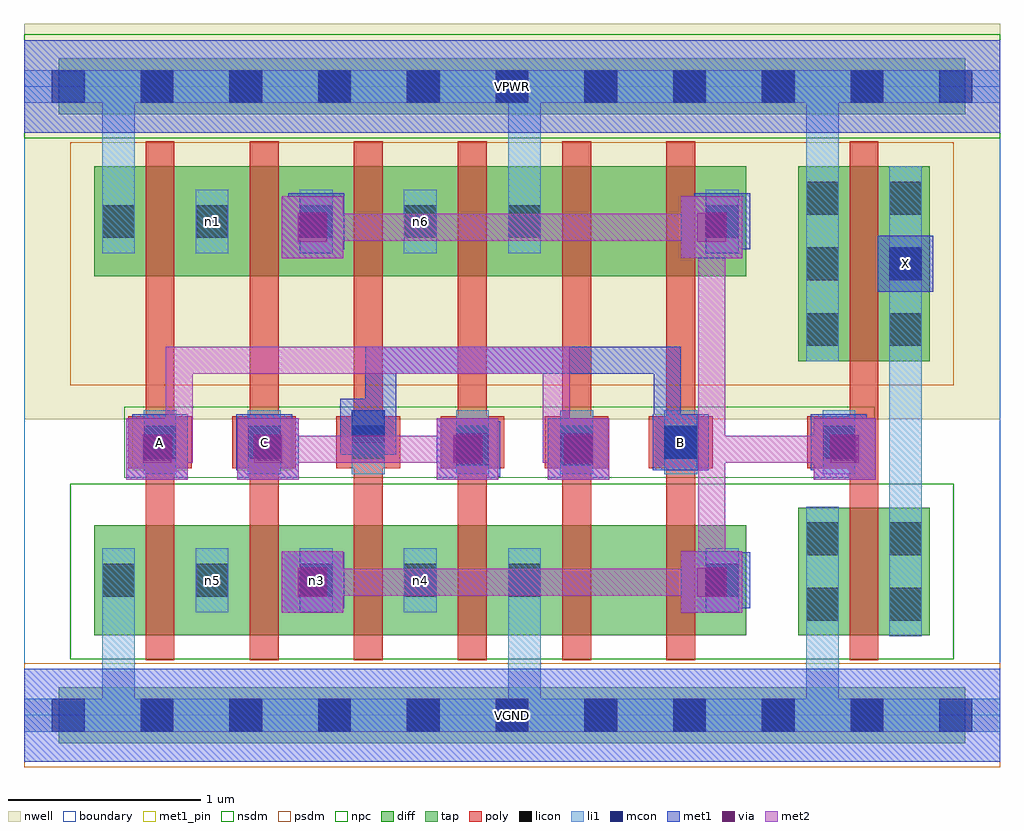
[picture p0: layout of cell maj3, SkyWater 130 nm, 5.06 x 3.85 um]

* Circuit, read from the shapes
.subckt maj3 A B C VGND VPWR X n1 n3 n4 n5 n6
XM1 n5 A VGND VGND sky130_fd_pr__nfet_01v8 w=0.57 l=0.15
XM2 n3 C n5 VGND sky130_fd_pr__nfet_01v8 w=0.57 l=0.15
XM3 n4 B n3 VGND sky130_fd_pr__nfet_01v8 w=0.57 l=0.15
XM4 VGND C n4 VGND sky130_fd_pr__nfet_01v8 w=0.57 l=0.15
XM5 n2 A VGND VGND sky130_fd_pr__nfet_01v8 w=0.57 l=0.15
XM6 n3 B n2 VGND sky130_fd_pr__nfet_01v8 w=0.57 l=0.15
XM7 X n3 VGND VGND sky130_fd_pr__nfet_01v8 w=0.66 l=0.15
XM8 n1 A VPWR VPWR sky130_fd_pr__pfet_01v8 w=0.57 l=0.15
XM9 n3 C n1 VPWR sky130_fd_pr__pfet_01v8 w=0.57 l=0.15
XM10 n6 B n3 VPWR sky130_fd_pr__pfet_01v8 w=0.57 l=0.15
XM11 VPWR C n6 VPWR sky130_fd_pr__pfet_01v8 w=0.57 l=0.15
XM12 n7 A VPWR VPWR sky130_fd_pr__pfet_01v8 w=0.57 l=0.15
XM13 n3 B n7 VPWR sky130_fd_pr__pfet_01v8 w=0.57 l=0.15
XM14 X n3 VPWR VPWR sky130_fd_pr__pfet_01v8 w=1.01 l=0.15
.ends

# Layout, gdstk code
import gdstk
lib = gdstk.Library(unit=1e-6, precision=1e-09)
def R(c, l, rs):  # rectangles x0, y0, x1, y1
    for r in rs: c.add(gdstk.rectangle(r[:2], r[2:], *l))
def A(c, l, x, y, w, h, nx, ny, dx, dy):  # array of equal rectangles
    R(c, l, [(x+i*dx, y+j*dy, x+i*dx+w, y+j*dy+h) for i in range(nx) for j in range(ny)])
nwell = (64, 20)
diff = (65, 20)
tap = (65, 44)
poly = (66, 20)
licon = (66, 44)
li1 = (67, 20)
mcon = (67, 44)
met1_pin = (68, 16)
met1 = (68, 20)
via = (68, 44)
met2 = (69, 20)
nsdm = (93, 44)
psdm = (94, 20)
npc = (95, 20)
boundary = (235, 4)

maj3 = lib.new_cell('maj3')
R(maj3, nwell, [(0,1.535,5.06,3.585)])
R(maj3, diff, [(0.365,0.415,3.745,0.985), (4.015,0.415,4.695,1.075), (4.015,1.835,4.695,2.845), (0.365,2.275,3.745,2.845)])
R(maj3, tap, [(0.18,-0.145,4.88,0.145), (0.18,3.115,4.88,3.405)])
A(maj3, poly, 0.63, 0.285, 0.15, 2.69, 6, 1, 0.54, 0)
A(maj3, poly, 0.54, 1.28, 0.33, 0.27, 6, 1, 0.54, 0)
R(maj3, poly, [(4.28,0.285,4.43,2.975), (4.06,1.28,4.39,1.55)])
A(maj3, licon, 0.605, -0.085, 0.17, 0.17, 9, 2, 0.46, 3.26)
A(maj3, licon, 0.89, 0.615, 0.17, 0.17, 4, 2, 0.54, 1.86)
A(maj3, licon, 0.62, 1.33, 0.17, 0.17, 6, 1, 0.54, 0)
A(maj3, licon, 4.055, 1.915, 0.17, 0.17, 1, 3, 0, 0.34)
A(maj3, licon, 4.485, 1.915, 0.17, 0.17, 1, 3, 0, 0.34)
R(maj3, licon, [(4.055,0.49,4.225,0.66), (4.485,0.49,4.655,0.66), (0.405,0.615,0.575,0.785), (3.535,0.615,3.705,0.785), (4.055,0.83,4.225,1), (4.485,0.83,4.655,1), (4.14,1.33,4.31,1.5), (0.405,2.475,0.575,2.645), (3.535,2.475,3.705,2.645)])
A(maj3, li1, 0.89, 0.535, 0.17, 0.33, 4, 2, 0.54, 1.86)
A(maj3, li1, 0.62, 1.25, 0.17, 0.33, 6, 1, 0.54, 0)
R(maj3, li1, [(0,-0.085,5.06,0.085), (0.405,-0.085,0.575,0.865), (2.51,-0.085,2.68,0.865), (4.055,-0.085,4.225,1.08), (4.055,0.41,4.225,1.08), (4.485,0.41,4.655,1.08), (4.485,0.41,4.655,2.845), (0.405,0.535,0.575,0.865), (3.535,0.535,3.705,0.865), (4.14,1.25,4.31,1.58), (4.055,1.835,4.225,2.845), (4.055,1.835,4.225,3.345), (4.485,1.835,4.655,2.845), (0.405,2.395,0.575,2.725), (0.405,2.395,0.575,3.345), (2.51,2.395,2.68,3.345), (3.535,2.395,3.705,2.725), (0,3.175,5.06,3.345)])
A(maj3, mcon, 0.145, -0.085, 0.17, 0.17, 11, 2, 0.46, 3.26)
R(maj3, mcon, [(1.43,0.615,1.6,0.785), (3.535,0.615,3.705,0.785), (2.24,1.295,2.41,1.465), (2.78,1.295,2.95,1.465), (0.62,1.33,0.79,1.5), (1.16,1.33,1.33,1.5), (3.32,1.33,3.49,1.5), (4.14,1.33,4.31,1.5), (1.7,1.41,1.87,1.58), (4.485,2.255,4.655,2.425), (1.43,2.475,1.6,2.645), (3.535,2.475,3.705,2.645)])
R(maj3, met1_pin, [(0,-0.24,5.06,0.24), (0.56,1.27,0.85,1.56), (1.1,1.27,1.39,1.56), (3.26,1.27,3.55,1.56), (4.425,2.195,4.715,2.485), (0,3.02,5.06,3.5)])
R(maj3, met1, [(0,-0.24,5.06,0.24), (1.335,0.53,1.655,0.85), (3.405,0.53,3.725,0.85), (1.37,0.555,1.66,0.845), (3.475,0.555,3.765,0.845), (1.425,0.62,1.565,0.76), (3.495,0.62,3.635,0.76), (0.53,1.22,0.85,1.54), (1.105,1.22,1.425,1.54), (2.14,1.22,2.46,1.54), (2.715,1.22,3.035,1.54), (4.095,1.22,4.415,1.54), (2.18,1.235,2.47,1.525), (2.72,1.235,3.01,1.525), (0.56,1.27,0.85,1.56), (1.1,1.27,1.39,1.56), (3.26,1.27,3.55,1.56), (4.08,1.27,4.37,1.56), (0.62,1.31,0.76,1.45), (1.195,1.31,1.335,1.45), (2.23,1.31,2.395,1.45), (2.795,1.31,2.945,1.45), (3.265,1.31,3.405,1.45), (3.265,1.31,3.405,1.91), (4.185,1.31,4.325,1.45), (1.64,1.35,1.93,1.64), (1.715,1.425,1.91,1.565), (1.77,1.425,1.91,1.68), (1.77,1.54,1.91,1.91), (1.77,1.64,1.93,1.77), (1.77,1.77,3.405,1.91), (4.425,2.195,4.715,2.485), (1.335,2.37,1.655,2.69), (3.405,2.37,3.725,2.69), (1.37,2.415,1.66,2.705), (3.475,2.415,3.765,2.705), (1.425,2.46,1.565,2.6), (3.495,2.46,3.635,2.6), (0,3.02,5.06,3.5)])
R(maj3, via, [(1.42,0.615,1.57,0.765), (3.49,0.615,3.64,0.765), (0.615,1.305,0.765,1.455), (1.19,1.305,1.34,1.455), (2.225,1.305,2.375,1.455), (2.8,1.305,2.95,1.455), (4.18,1.305,4.33,1.455), (1.42,2.455,1.57,2.605), (3.49,2.455,3.64,2.605)])
R(maj3, met2, [(1.335,0.53,1.655,0.85), (3.405,0.53,3.725,0.85), (1.425,0.62,3.635,0.76), (3.495,0.62,3.635,1.45), (0.53,1.22,0.85,1.54), (1.105,1.22,1.425,1.54), (2.14,1.22,2.46,1.54), (2.715,1.22,3.035,1.54), (4.095,1.22,4.415,1.54), (0.62,1.31,0.875,1.45), (0.735,1.31,0.875,1.91), (1.195,1.31,2.37,1.45), (2.69,1.31,2.945,1.45), (2.69,1.31,2.83,1.91), (3.495,1.31,4.325,1.45), (3.495,1.31,3.635,2.6), (0.735,1.77,2.83,1.91), (1.335,2.37,1.655,2.69), (3.405,2.37,3.725,2.69), (1.425,2.46,3.635,2.6)])
R(maj3, nsdm, [(0.24,0.29,4.82,1.2), (0,2.99,5.06,3.53)])
R(maj3, psdm, [(0,-0.27,5.06,0.27), (0.24,1.71,4.82,2.97)])
R(maj3, npc, [(0.52,1.23,4.41,1.6)])
R(maj3, boundary, [(0,0,5.06,3.26)])
maj3.add(gdstk.Label('n5', (0.975,0.7), layer=67, texttype=5))
maj3.add(gdstk.Label('n3', (1.515,0.7), layer=67, texttype=5))
maj3.add(gdstk.Label('n4', (2.055,0.7), layer=67, texttype=5))
maj3.add(gdstk.Label('n1', (0.975,2.56), layer=67, texttype=5))
maj3.add(gdstk.Label('n6', (2.055,2.56), layer=67, texttype=5))
maj3.add(gdstk.Label('A', (0.705,1.415), layer=68, texttype=5))
maj3.add(gdstk.Label('B', (3.405,1.415), layer=68, texttype=5))
maj3.add(gdstk.Label('C', (1.245,1.415), layer=68, texttype=5))
maj3.add(gdstk.Label('X', (4.57,2.34), layer=68, texttype=5))
maj3.add(gdstk.Label('VPWR', (2.53,3.26), layer=68, texttype=5))
maj3.add(gdstk.Label('VGND', (2.53,0), layer=68, texttype=5))
maj3.add(gdstk.Label('A', (0.705,1.415), layer=68, texttype=16))
maj3.add(gdstk.Label('B', (3.405,1.415), layer=68, texttype=16))
maj3.add(gdstk.Label('C', (1.245,1.415), layer=68, texttype=16))
maj3.add(gdstk.Label('X', (4.57,2.34), layer=68, texttype=16))
maj3.add(gdstk.Label('VPWR', (2.53,3.26), layer=68, texttype=16))
maj3.add(gdstk.Label('VGND', (2.53,0), layer=68, texttype=16))

lib.write_gds('maj3.gds')
